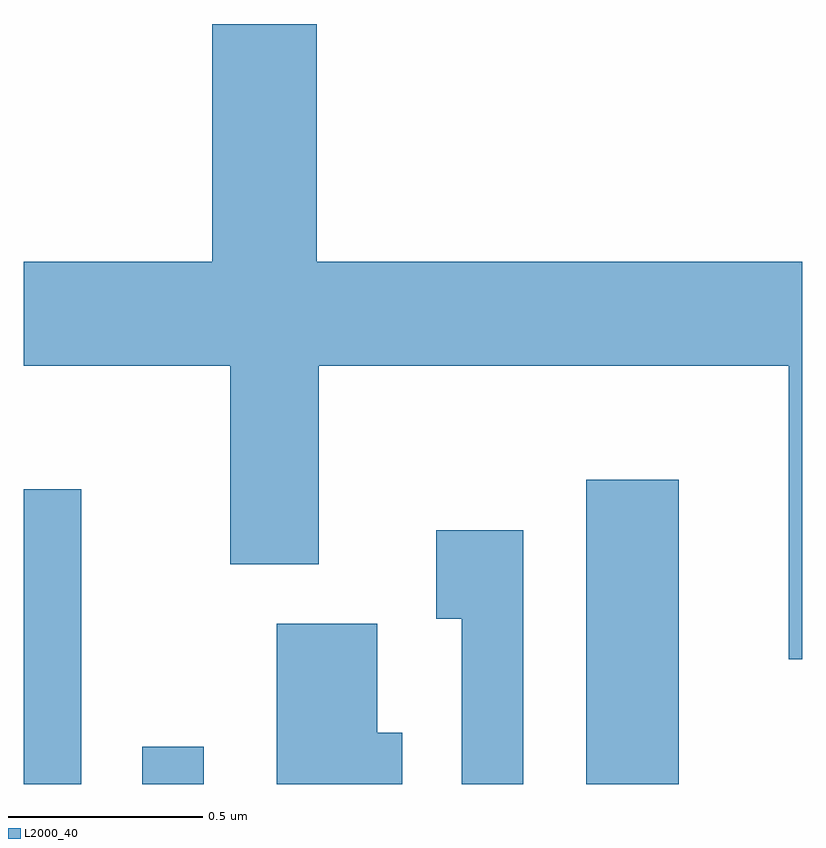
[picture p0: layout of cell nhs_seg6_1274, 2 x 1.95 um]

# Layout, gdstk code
import gdstk
lib = gdstk.Library(unit=1e-6, precision=1e-09)
def R(c, l, rs):  # rectangles x0, y0, x1, y1
    for r in rs: c.add(gdstk.rectangle(r[:2], r[2:], *l))
def P(c, l, *ps):  # polygons
    for p in ps: c.add(gdstk.Polygon(p, *l))
L2000_40 = (2000, 40)

nhs_seg6_1274 = lib.new_cell('nhs_seg6_1274')
R(nhs_seg6_1274, L2000_40, [(194.611,1571.162,194.759,1571.919), (194.916,1571.162,195.074,1571.258), (196.056,1571.162,196.294,1571.944)])
P(nhs_seg6_1274, L2000_40, [(196.611,1572.504),(195.364,1572.504),(195.364,1573.114),(195.096,1573.114),(195.096,1572.504),(194.611,1572.504),(194.611,1572.236),(195.141,1572.236),(195.141,1571.726),(195.369,1571.726),(195.369,1572.236),(196.576,1572.236),(196.576,1571.483),(196.611,1571.483)],
  [(195.894,1571.814),(195.671,1571.814),(195.671,1571.586),(195.736,1571.586),(195.736,1571.162),(195.894,1571.162)],
  [(195.584,1571.294),(195.519,1571.294),(195.519,1571.574),(195.261,1571.574),(195.261,1571.162),(195.584,1571.162)])

lib.write_gds('nhs_seg6_1274.gds')
